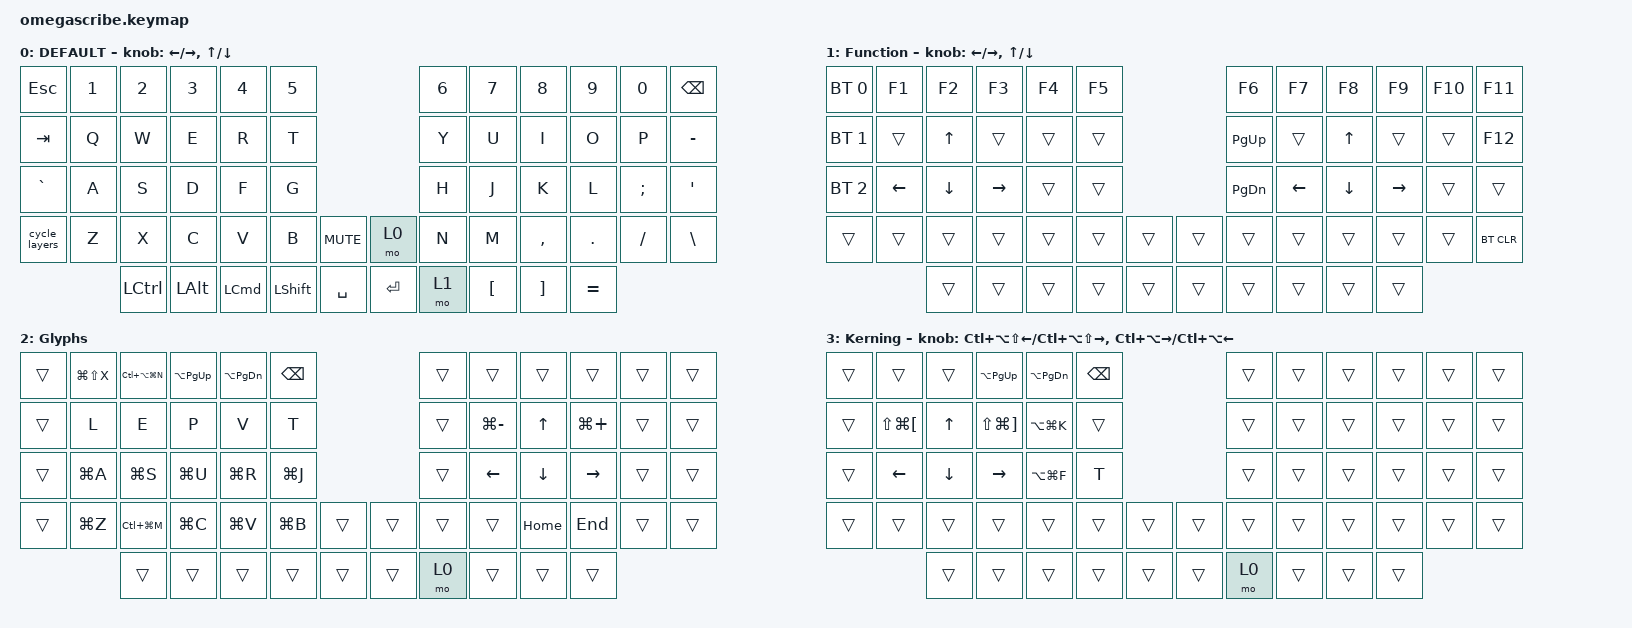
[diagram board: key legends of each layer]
/*
 * Copyright (c) 2020 The ZMK Contributors
 *
 * SPDX-License-Identifier: MIT
 */

#include <behaviors.dtsi>
#include <dt-bindings/zmk/bt.h>
#include <dt-bindings/zmk/keys.h>

#define BASE 0
#define LOWER 1
#define RAISE 2
#define GLYPHS 3

/ {
    behaviors {
        cycle_layers: cycle_layers {
            compatible = "zmk,behavior-tap-dance";
            label = "CYCLE_LAYERS";
            #binding-cells = <0>;
            bindings = <&to 0>, <&to 2>, <&to 3>;

            tapping-term-ms = <300>;
        };
    };

    combos {
        compatible = "zmk,combos";

        left_return {
            bindings = <&kp RET>;
            key-positions = <53 54>;
        };

        close {
            bindings = <&kp LG(W)>;
            key-positions = <52 14>;
            layers = <2>;
        };

        save {
            bindings = <&kp LG(S)>;
            key-positions = <26 52>;
            layers = <2>;
        };
    };

    keymap {
        compatible = "zmk,keymap";

        default_layer {
            display-name = "DEFAULT";

            // ------------------------------------------------------------------------------------------------------------
            // |  ESC  |  1  |  2   |  3   |  4   |  5   |                   |  6   |  7    |  8    |  9   |   0   | BKSPC |
            // |  TAB  |  Q  |  W   |  E   |  R   |  T   |                   |  Y   |  U    |  I    |  O   |   P   |   -   |
            // | GRAVE |  A  |  S   |  D   |  F   |  G   |                   |  H   |  J    |  K    |  L   |   ;   |   '   |
            // | LOWER |  Z  |  X   |  C   |  V   |  B   |  MUTE  |  |       |  N   |  M    |  ,    |  .   |   /   |   \   |
            //               | ALT  | CTRL | CMD  | LSFT |  SPACE |  | ENTER | RAISE|   [   |   ]   |  =   |

            bindings = <
&kp ESC        &kp N1  &kp N2     &kp N3    &kp N4    &kp N5                           &kp N6  &kp N7    &kp N8     &kp N9     &kp N0    &kp BSPC
&kp TAB        &kp Q   &kp W      &kp E     &kp R     &kp T                            &kp Y   &kp U     &kp I      &kp O      &kp P     &kp MINUS
&kp GRAVE      &kp A   &kp S      &kp D     &kp F     &kp G                            &kp H   &kp J     &kp K      &kp L      &kp SEMI  &kp SQT
&cycle_layers  &kp Z   &kp X      &kp C     &kp V     &kp B       &kp C_MUTE  &mo 0    &kp N   &kp M     &kp COMMA  &kp DOT    &kp FSLH  &kp BSLH
                       &kp LCTRL  &kp LALT  &kp LCMD  &kp LSHIFT  &kp SPACE   &kp RET  &mo 1   &kp LBKT  &kp RBKT   &kp EQUAL
            >;

            sensor-bindings = <&inc_dec_kp LEFT RIGHT &inc_dec_kp UP DOWN>;
        };

        function_layer {
            display-name = "Function";

            // TODO: Some binds are waiting for shifted keycode support.
            // ------------------------------------------------------------------------------------------------------------
            // |       |  F1 |  F2 |  F3  |  F4  |  F5  |                   |  F6  |  F7   |  F8   |  F9  |  F10  |  F11  |
            // |   `   |  1  |  2  |  3   |  4   |  5   |                   |  6   |  7    |  8    |  9   |   0   |  F12  |
            // |       |  !  |  @  |  #   |  $   |  %   |                   |  ^   |  &    |  *    |  (   |   )   |   |   |
            // |       |  =  |  -  |  +   |  {   |  }   |        |  |       |  [   |  ]    |  ;    |  :   |   \   |       |
            //               |     |      |      |      |        |  |       |      |       |       |      |

            bindings = <
&bt BT_SEL 0  &kp F1    &kp F2    &kp F3     &kp F4  &kp F5                  &kp F6         &kp F7    &kp F8    &kp F9     &kp F10  &kp F11
&bt BT_SEL 1  &trans    &kp UP    &trans     &trans  &trans                  &kp PG_UP      &trans    &kp UP    &trans     &trans   &kp F12
&bt BT_SEL 2  &kp LEFT  &kp DOWN  &kp RIGHT  &trans  &trans                  &kp PAGE_DOWN  &kp LEFT  &kp DOWN  &kp RIGHT  &trans   &trans
&trans        &trans    &trans    &trans     &trans  &trans  &trans  &trans  &trans         &trans    &trans    &trans     &trans   &bt BT_CLR
                        &trans    &trans     &trans  &trans  &trans  &trans  &trans         &trans    &trans    &trans
            >;

            sensor-bindings = <&inc_dec_kp LEFT RIGHT>, <&inc_dec_kp UP DOWN>;
        };

        glyphs_design_layer {
            bindings = <
&trans  &kp LG(LS(X))  &kp LC(LA(LG(N)))  &kp LA(PG_UP)  &kp LA(PG_DN)  &kp BACKSPACE                  &trans  &trans          &trans          &trans        &trans  &trans
&trans  &kp L          &kp E              &kp P          &kp V          &kp T                          &trans  &kp LG(MINUS)   &kp UP_ARROW    &kp LG(PLUS)  &trans  &trans
&trans  &kp LG(A)      &kp LG(S)          &kp LG(U)      &kp LG(R)      &kp LG(J)                      &trans  &kp LEFT_ARROW  &kp DOWN_ARROW  &kp RIGHT     &trans  &trans
&trans  &kp LG(Z)      &kp LC(LG(M))      &kp LG(C)      &kp LG(V)      &kp LG(B)      &trans  &trans  &trans  &trans          &kp HOME        &kp END       &trans  &trans
                       &trans             &trans         &trans         &trans         &trans  &trans  &mo 0   &trans          &trans          &trans
            >;

            label = "Glyphs";
        };

        glyphs_kerning_layer {
            bindings = <
&trans  &trans                    &trans        &kp LA(PG_UP)              &kp LA(PAGE_DOWN)  &kp BACKSPACE                  &trans  &trans  &trans  &trans  &trans  &trans
&trans  &kp LS(LG(LEFT_BRACKET))  &kp UP_ARROW  &kp LS(LG(RIGHT_BRACKET))  &kp LA(LG(K))      &trans                         &trans  &trans  &trans  &trans  &trans  &trans
&trans  &kp LEFT                  &kp DOWN      &kp RIGHT                  &kp LA(LG(F))      &kp T                          &trans  &trans  &trans  &trans  &trans  &trans
&trans  &trans                    &trans        &trans                     &trans             &trans         &trans  &trans  &trans  &trans  &trans  &trans  &trans  &trans
                                  &trans        &trans                     &trans             &trans         &trans  &trans  &mo 0   &trans  &trans  &trans
            >;

            label = "Kerning";
            sensor-bindings =
                <&inc_dec_kp LC(LA(LS(LEFT))) LC(LA(LS(RIGHT)))>,
                <&inc_dec_kp LC(LA(RIGHT)) LC(LA(LEFT))>;
        };
    };
};
